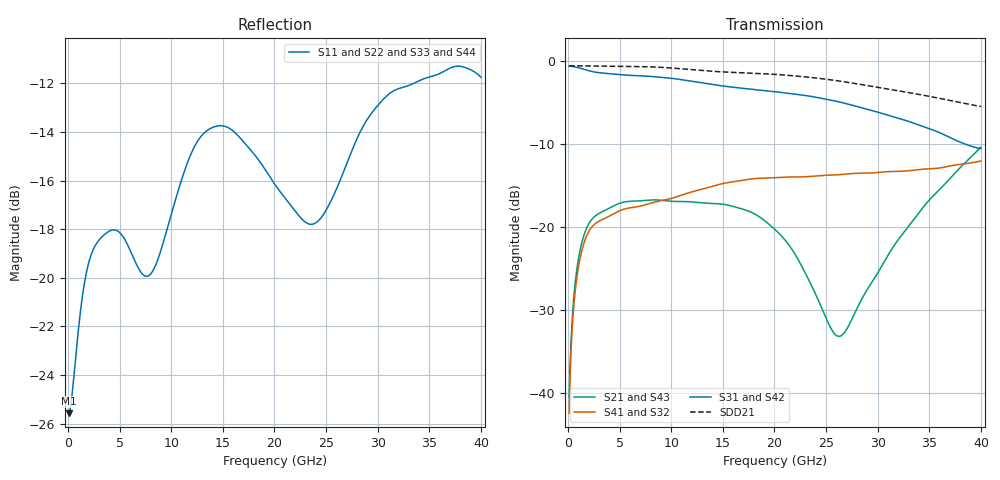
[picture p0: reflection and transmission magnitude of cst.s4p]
! E_s8_L1L8_p1000_oval_g0: pair L1→L8, pitch 1 mm, one oval antipad, 0 GND vias
! stackup: 8-layer 1.6 mm FR-4 (generic)
! ports: 1 P near, 2 N near, 3 P far, 4 N far
! CST Studio Suite 2025.5 Release from 2025-05-30, time domain (FIT, hexahedral, PBA), 134784 mesh cells, 41 s
! mesh: {'lpw': 20, 'lpb': 20, 'minstep': 0.0, 'ratio': 20}; ports: port 1 (face); port 2 (face); port 3 (face); port 4 (face)
! interpolated from CST's 1001 samples to the case grid
# Hz S RI R 50
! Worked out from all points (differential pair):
!   400 points, 100 MHz to 40 GHz, reference 50 ohm
!   strongest paths, dB at 100 MHz, 10.1 GHz, 20.1 GHz, 30.1 GHz, 40 GHz:
!     S31: -0.6, -2.0, -3.7, -6.2, -10.5
!     S42: -0.6, -2.0, -3.7, -6.2, -10.5
!     S41: -42.4, -16.5, -14.0, -13.4, -12.0
!     S32: -42.4, -16.5, -14.0, -13.4, -12.0
!     S21: -40.4, -16.9, -20.3, -25.3, -10.3
!     S43: -40.4, -16.9, -20.3, -25.3, -10.3
!   taken as a pair (ports 1,2 in; 3,4 out), SDD21 dB: -0.5, -0.8, -1.6, -3.1, -5.4
!   lowest |S11| = -25.6 dB at 100 MHz (marker M1), VSWR 1.11, Z = 45.1 + j0.901 ohm
!   |S11| at or under -10 dB: start of sweep to end of sweep
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1e8  -0.0517 0.00996  0.00705 0.00638  0.9356 -0.0406  -0.00487 -0.00578
     0.00705 0.00638  -0.0517 0.00996  -0.00487 -0.00578  0.9356 -0.0406
     0.9356 -0.0406  -0.00487 -0.00578  -0.0517 0.00996  0.00705 0.00638
     -0.00487 -0.00578  0.9356 -0.0406  0.00705 0.00638  -0.0517 0.00996
1.7e9  0.0573 0.0827  0.09 0.0327  0.6774 -0.5776  -0.0823 -0.0244
       0.09 0.0327  0.0573 0.0827  -0.0823 -0.0244  0.6774 -0.5776
       0.6774 -0.5776  -0.0823 -0.0244  0.0573 0.0827  0.09 0.0327
       -0.0823 -0.0244  0.6774 -0.5776  0.09 0.0327  0.0573 0.0827
7.9e9  -0.0945 -0.0366  -0.0845 -0.1192  -0.8073 -0.1  0.1001 0.0965
       -0.0845 -0.1192  -0.0945 -0.0366  0.1001 0.0965  -0.8073 -0.1
       -0.8073 -0.1  0.1001 0.0965  -0.0945 -0.0366  -0.0845 -0.1192
       0.1001 0.0965  -0.8073 -0.1  -0.0845 -0.1192  -0.0945 -0.0366
1.63e10  0.1777 -0.0865  0.0787 0.106  0.6895 0.0911  -0.1395 -0.1282
         0.0787 0.106  0.1777 -0.0865  -0.1395 -0.1282  0.6895 0.0911
         0.6895 0.0911  -0.1395 -0.1282  0.1777 -0.0865  0.0787 0.106
         -0.1395 -0.1282  0.6895 0.0911  0.0787 0.106  0.1777 -0.0865
2.45e10  -0.1261 0.0413  -0.0304 -0.014  -0.5859 -0.1307  0.1571 0.1321
         -0.0304 -0.014  -0.1262 0.0413  0.1571 0.1321  -0.5859 -0.1307
         -0.5859 -0.1307  0.1571 0.1321  -0.1262 0.0413  -0.0304 -0.014
         0.1571 0.1321  -0.5859 -0.1307  -0.0304 -0.014  -0.1262 0.0413
3.28e10  0.2397 -0.0625  0.0686 -0.0698  0.4199 0.1286  -0.1831 -0.1197
         0.0686 -0.0698  0.2397 -0.0625  -0.1831 -0.1197  0.4199 0.1286
         0.4199 0.1286  -0.1831 -0.1197  0.2397 -0.0625  0.0686 -0.0698
         -0.1831 -0.1197  0.4199 0.1286  0.0686 -0.0698  0.2397 -0.0625
4e10  -0.1792 -0.1861  -0.2837 0.1101  -0.1368 -0.266  0.2031 0.147
      -0.2837 0.1101  -0.1792 -0.1861  0.2031 0.1471  -0.1368 -0.266
      -0.1368 -0.266  0.2031 0.1471  -0.1792 -0.1861  -0.2837 0.1101
      0.2031 0.147  -0.1368 -0.266  -0.2837 0.1101  -0.1792 -0.1861
